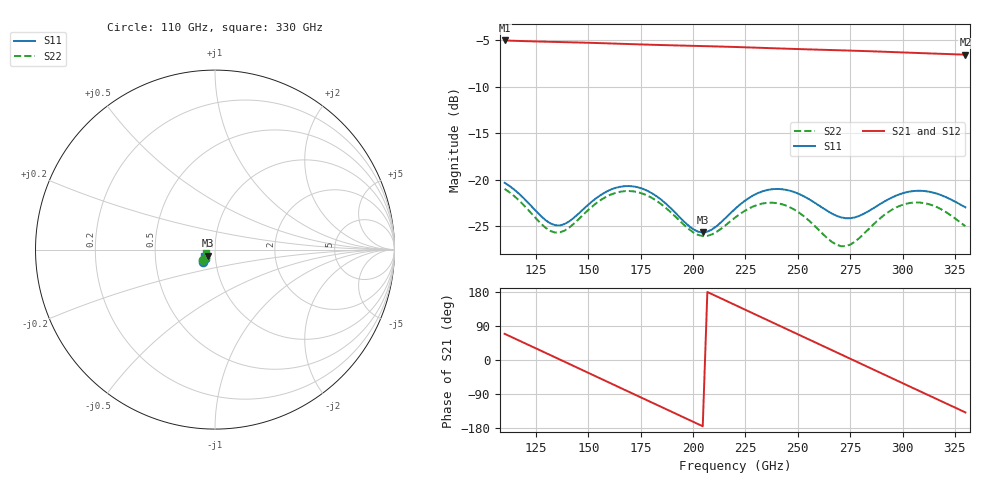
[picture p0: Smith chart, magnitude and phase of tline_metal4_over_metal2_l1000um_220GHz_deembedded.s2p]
! Created with skrf 2.0.1 (http://scikit-rf.org).
# GHz S DB R 50.0
!freq dBS11 angS11 dBS21 angS21 dBS12 angS12 dBS22 angS22
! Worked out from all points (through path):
!   101 points, 110 GHz to 330 GHz, reference 50 ohm
!   highest |S21| = -5.02 dB at 110 GHz (marker M1); lowest = -6.5 dB at 330 GHz (marker M2)
!   group delay of S21, straight-line fit = 7.17 ps
!   lowest |S11| = -25.7 dB at 204.6 GHz (marker M3), VSWR 1.11, Z = 46.2 - j3.2 ohm
!   |S11| at or under -10 dB: start of sweep to end of sweep
!   |S22| runs from -27.2 to -21.0 dB; largest |S21 - S12| = 6.4e-14
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110  -20.34 -134.0  -5.02 69.1  -5.02 69.1  -21.00 -138.0
121  -22.42 -142.7  -5.10 40.8  -5.10 40.8  -23.19 -146.8
129.8  -24.40 -138.6  -5.15 18.2  -5.15 18.2  -25.22 -142.2
136.4  -24.92 -128.6  -5.19 1.2  -5.19 1.2  -25.67 -131.8
147.4  -23.22 -118.1  -5.25 -27.3  -5.25 -27.3  -23.80 -121.9
158.4  -21.31 -123.6  -5.33 -55.7  -5.33 -55.7  -21.85 -128.5
167.2  -20.70 -133.3  -5.39 -78.4  -5.39 -78.4  -21.24 -138.8
176  -20.99 -143.5  -5.45 -101.1  -5.45 -101.1  -21.51 -149.7
184.8  -22.16 -151.4  -5.51 -123.8  -5.51 -123.8  -22.64 -158.3
195.8  -24.54 -151.2  -5.58 -152.1  -5.58 -152.1  -24.90 -159.6
204.6  -25.68 -138.3  -5.63 -174.9  -5.63 -174.9  -26.07 -149.4
220  -23.15 -123.4  -5.72 145.3  -5.72 145.3  -24.09 -137.0
231  -21.44 -129.7  -5.80 116.9  -5.80 116.9  -22.69 -143.9
239.8  -21.00 -138.2  -5.87 94.2  -5.87 94.2  -22.52 -152.9
248.6  -21.36 -146.1  -5.93 71.5  -5.93 71.5  -23.26 -161.2
257.4  -22.38 -150.7  -5.99 48.8  -5.99 48.8  -24.84 -165.0
268.4  -23.88 -147.2  -6.07 20.5  -6.07 20.5  -26.99 -155.5
275  -24.15 -140.6  -6.11 3.4  -6.11 3.4  -26.99 -143.6
283.8  -23.38 -133.5  -6.18 -19.3  -6.18 -19.3  -25.32 -134.4
294.8  -21.93 -134.0  -6.26 -47.7  -6.26 -47.7  -23.25 -137.7
312.4  -21.28 -146.0  -6.41 -93.0  -6.41 -93.0  -22.63 -154.2
330  -22.97 -151.5  -6.55 -138.3  -6.55 -138.3  -25.02 -160.2
